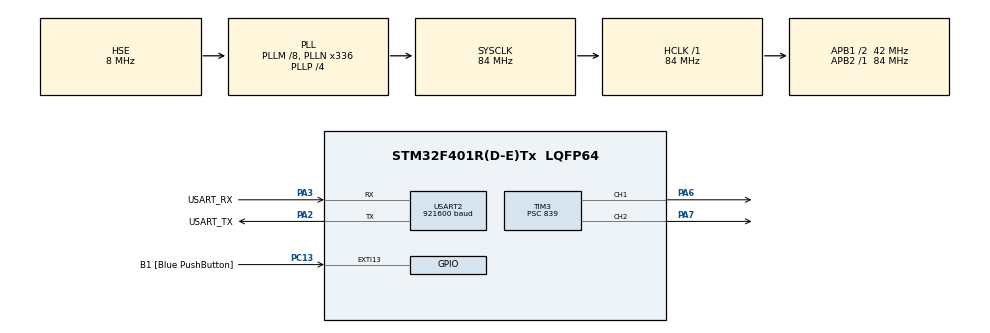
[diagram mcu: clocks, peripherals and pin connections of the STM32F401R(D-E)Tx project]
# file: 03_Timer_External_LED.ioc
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Mcu.Family=STM32F4
Mcu.Name=STM32F401R(D-E)Tx
Mcu.Package=LQFP64
NVIC.PriorityGroup=NVIC_PRIORITYGROUP_4
PA13.GPIO_Label=TMS
PA13.Mode=Trace_Asynchronous_SW
PA13.Signal=SYS_JTMS-SWDIO
PA14.GPIO_Label=TCK
PA14.Mode=Trace_Asynchronous_SW
PA14.Signal=SYS_JTCK-SWCLK
PA2.GPIO_Label=USART_TX
PA2.GPIO_Mode=GPIO_MODE_AF_PP
PA2.GPIO_PuPd=GPIO_NOPULL
PA2.GPIO_Speed=GPIO_SPEED_FREQ_LOW
PA2.Mode=Asynchronous
PA2.Signal=USART2_TX
PA3.GPIO_Label=USART_RX
PA3.GPIO_Mode=GPIO_MODE_AF_PP
PA3.GPIO_PuPd=GPIO_NOPULL
PA3.GPIO_Speed=GPIO_SPEED_FREQ_LOW
PA3.Mode=Asynchronous
PA3.Signal=USART2_RX
PA5.Signal=S_TIM2_CH1_ETR
PA6.Signal=S_TIM3_CH1
PA7.Signal=S_TIM3_CH2
PB3.GPIO_Label=SWO
PB3.Mode=Trace_Asynchronous_SW
PB3.Signal=SYS_JTDO-SWO
PC13-ANTI_TAMP.GPIO_Label=B1 [Blue PushButton]
PC13-ANTI_TAMP.GPIO_ModeDefaultEXTI=GPIO_MODE_IT_FALLING
PC13-ANTI_TAMP.GPIO_PuPd=GPIO_NOPULL
PC13-ANTI_TAMP.Signal=GPXTI13
PC14-OSC32_IN.Mode=LSE-External-Oscillator
PC14-OSC32_IN.Signal=RCC_OSC32_IN
PC15-OSC32_OUT.Mode=LSE-External-Oscillator
PC15-OSC32_OUT.Signal=RCC_OSC32_OUT
PH0\ -\ OSC_IN.Mode=HSE-External-Clock-Source
PH0\ -\ OSC_IN.Signal=RCC_OSC_IN
PH1\ -\ OSC_OUT.Mode=HSE-External-Clock-Source
PH1\ -\ OSC_OUT.Signal=RCC_OSC_OUT
ProjectManager.HeapSize=0x200
ProjectManager.StackSize=0x400
ProjectManager.TargetToolchain=STM32CubeIDE
RCC.48MHZClocksFreq_Value=48000000
RCC.AHBFreq_Value=84000000
RCC.APB1CLKDivider=RCC_HCLK_DIV2
RCC.APB1Freq_Value=42000000
RCC.APB1TimFreq_Value=84000000
RCC.APB2Freq_Value=84000000
RCC.APB2TimFreq_Value=84000000
RCC.CortexFreq_Value=84000000
RCC.HCLKFreq_Value=84000000
RCC.HSE_VALUE=8000000
RCC.HSI_VALUE=16000000
RCC.PLLM=8
RCC.PLLN=336
RCC.PLLP=RCC_PLLP_DIV4
RCC.PLLQ=7
RCC.PLLSourceVirtual=RCC_PLLSOURCE_HSE
RCC.SYSCLKFreq_VALUE=84000000
RCC.SYSCLKSource=RCC_SYSCLKSOURCE_PLLCLK
RCC.VCOOutputFreq_Value=336000000
SH.S_TIM2_CH1_ETR.0=TIM2_CH1
SH.S_TIM3_CH1.0=TIM3_CH1,PWM Generation1 CH1
SH.S_TIM3_CH2.0=TIM3_CH2,PWM Generation2 CH2
TIM3.Channel-PWM\ Generation1\ CH1=TIM_CHANNEL_1
TIM3.Channel-PWM\ Generation2\ CH2=TIM_CHANNEL_2
TIM3.Period=999
TIM3.Prescaler=839
USART2.BaudRate=921600
USART2.VirtualMode=VM_ASYNC
board=NUCLEO-F401RE

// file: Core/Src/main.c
/* USER CODE BEGIN Header */
/**
  ******************************************************************************
  * @file           : main.c
  * @brief          : Main program body
  ******************************************************************************
  * @attention
  *
  * Copyright (c) 2025 STMicroelectronics.
  * All rights reserved.
  *
  * This software is licensed under terms that can be found in the LICENSE file
  * in the root directory of this software component.
  * If no LICENSE file comes with this software, it is provided AS-IS.
  *
  ******************************************************************************
  */
/* USER CODE END Header */
#include "main.h"

/* USER CODE BEGIN Includes */
#include <stdio.h>
/* USER CODE END Includes */

TIM_HandleTypeDef htim3;

UART_HandleTypeDef huart2;

void SystemClock_Config(void);
static void MX_GPIO_Init(void);
static void MX_USART2_UART_Init(void);
static void MX_TIM3_Init(void);

/* USER CODE BEGIN 0 */
int_write (int file, char *ptr, int len){
	HAL_UART_Transmit(&huart2, (uint8_t *)ptr, len, 10);
	return len;
}
/* USER CODE END 0 */

int main(void)
{

  /* MCU Configuration--------------------------------------------------------*/

  /* Reset of all peripherals, Initializes the Flash interface and the Systick. */
  HAL_Init();

  /* Configure the system clock */
  SystemClock_Config();

  /* Initialize all configured peripherals */
  MX_GPIO_Init();
  MX_USART2_UART_Init();
  MX_TIM3_Init();
  /* USER CODE BEGIN 2 */
  printf("Start timer");
  HAL_TIM_PWM_Start(&htim3,TIM_CHANNEL_1);
  HAL_TIM_PWM_Start(&htim3,TIM_CHANNEL_2);

  /* USER CODE END 2 */

  /* Infinite loop */
  /* USER CODE BEGIN WHILE */

  int brightness = 0;
  int step = 1;
  uint32_t timestamp = 0;

  while (1)
  {
	  if (HAL_GetTick() - timestamp >= 10){
		  timestamp = HAL_GetTick();

		  __HAL_TIM_SET_COMPARE(&htim3, TIM_CHANNEL_1, brightness);
		  __HAL_TIM_SET_COMPARE(&htim3, TIM_CHANNEL_2, 1000 - brightness);

		  brightness += step;
		  if (brightness >= 1000) step = -10;
		  if (brightness <= 0) step = 10;

	  }

  }
    /* USER CODE END WHILE */

}

void SystemClock_Config(void)
{
  RCC_OscInitTypeDef RCC_OscInitStruct = {0};
  RCC_ClkInitTypeDef RCC_ClkInitStruct = {0};

  /** Configure the main internal regulator output voltage
  */
  __HAL_RCC_PWR_CLK_ENABLE();
  __HAL_PWR_VOLTAGESCALING_CONFIG(PWR_REGULATOR_VOLTAGE_SCALE2);

  /** Initializes the RCC Oscillators according to the specified parameters
  * in the RCC_OscInitTypeDef structure.
  */
  RCC_OscInitStruct.OscillatorType = RCC_OSCILLATORTYPE_HSE;
  RCC_OscInitStruct.HSEState = RCC_HSE_BYPASS;
  RCC_OscInitStruct.PLL.PLLState = RCC_PLL_ON;
  RCC_OscInitStruct.PLL.PLLSource = RCC_PLLSOURCE_HSE;
  RCC_OscInitStruct.PLL.PLLM = 8;
  RCC_OscInitStruct.PLL.PLLN = 336;
  RCC_OscInitStruct.PLL.PLLP = RCC_PLLP_DIV4;
  RCC_OscInitStruct.PLL.PLLQ = 7;
  if (HAL_RCC_OscConfig(&RCC_OscInitStruct) != HAL_OK)
  {
    Error_Handler();
  }

  /** Initializes the CPU, AHB and APB buses clocks
  */
  RCC_ClkInitStruct.ClockType = RCC_CLOCKTYPE_HCLK|RCC_CLOCKTYPE_SYSCLK
                              |RCC_CLOCKTYPE_PCLK1|RCC_CLOCKTYPE_PCLK2;
  RCC_ClkInitStruct.SYSCLKSource = RCC_SYSCLKSOURCE_PLLCLK;
  RCC_ClkInitStruct.AHBCLKDivider = RCC_SYSCLK_DIV1;
  RCC_ClkInitStruct.APB1CLKDivider = RCC_HCLK_DIV2;
  RCC_ClkInitStruct.APB2CLKDivider = RCC_HCLK_DIV1;

  if (HAL_RCC_ClockConfig(&RCC_ClkInitStruct, FLASH_LATENCY_2) != HAL_OK)
  {
    Error_Handler();
  }
}

static void MX_TIM3_Init(void)
{

  TIM_MasterConfigTypeDef sMasterConfig = {0};
  TIM_OC_InitTypeDef sConfigOC = {0};

  htim3.Instance = TIM3;
  htim3.Init.Prescaler = 839;
  htim3.Init.CounterMode = TIM_COUNTERMODE_UP;
  htim3.Init.Period = 999;
  htim3.Init.ClockDivision = TIM_CLOCKDIVISION_DIV1;
  htim3.Init.AutoReloadPreload = TIM_AUTORELOAD_PRELOAD_DISABLE;
  if (HAL_TIM_PWM_Init(&htim3) != HAL_OK)
  {
    Error_Handler();
  }
  sMasterConfig.MasterOutputTrigger = TIM_TRGO_RESET;
  sMasterConfig.MasterSlaveMode = TIM_MASTERSLAVEMODE_DISABLE;
  if (HAL_TIMEx_MasterConfigSynchronization(&htim3, &sMasterConfig) != HAL_OK)
  {
    Error_Handler();
  }
  sConfigOC.OCMode = TIM_OCMODE_PWM1;
  sConfigOC.Pulse = 0;
  sConfigOC.OCPolarity = TIM_OCPOLARITY_HIGH;
  sConfigOC.OCFastMode = TIM_OCFAST_DISABLE;
  if (HAL_TIM_PWM_ConfigChannel(&htim3, &sConfigOC, TIM_CHANNEL_1) != HAL_OK)
  {
    Error_Handler();
  }
  if (HAL_TIM_PWM_ConfigChannel(&htim3, &sConfigOC, TIM_CHANNEL_2) != HAL_OK)
  {
    Error_Handler();
  }
  HAL_TIM_MspPostInit(&htim3);

}

static void MX_USART2_UART_Init(void)
{

  huart2.Instance = USART2;
  huart2.Init.BaudRate = 921600;
  huart2.Init.WordLength = UART_WORDLENGTH_8B;
  huart2.Init.StopBits = UART_STOPBITS_1;
  huart2.Init.Parity = UART_PARITY_NONE;
  huart2.Init.Mode = UART_MODE_TX_RX;
  huart2.Init.HwFlowCtl = UART_HWCONTROL_NONE;
  huart2.Init.OverSampling = UART_OVERSAMPLING_16;
  if (HAL_UART_Init(&huart2) != HAL_OK)
  {
    Error_Handler();
  }

}

static void MX_GPIO_Init(void)
{
  GPIO_InitTypeDef GPIO_InitStruct = {0};

  /* GPIO Ports Clock Enable */
  __HAL_RCC_GPIOC_CLK_ENABLE();
  __HAL_RCC_GPIOH_CLK_ENABLE();
  __HAL_RCC_GPIOA_CLK_ENABLE();
  __HAL_RCC_GPIOB_CLK_ENABLE();

  /*Configure GPIO pin : B1_Pin */
  GPIO_InitStruct.Pin = B1_Pin;
  GPIO_InitStruct.Mode = GPIO_MODE_IT_FALLING;
  GPIO_InitStruct.Pull = GPIO_NOPULL;
  HAL_GPIO_Init(B1_GPIO_Port, &GPIO_InitStruct);

  /*Configure GPIO pin : PA5 */
  GPIO_InitStruct.Pin = GPIO_PIN_5;
  GPIO_InitStruct.Mode = GPIO_MODE_AF_PP;
  GPIO_InitStruct.Pull = GPIO_NOPULL;
  GPIO_InitStruct.Speed = GPIO_SPEED_FREQ_LOW;
  GPIO_InitStruct.Alternate = GPIO_AF1_TIM2;
  HAL_GPIO_Init(GPIOA, &GPIO_InitStruct);

}

void Error_Handler(void)
{
  __disable_irq();
  while (1)
  {
  }
}
